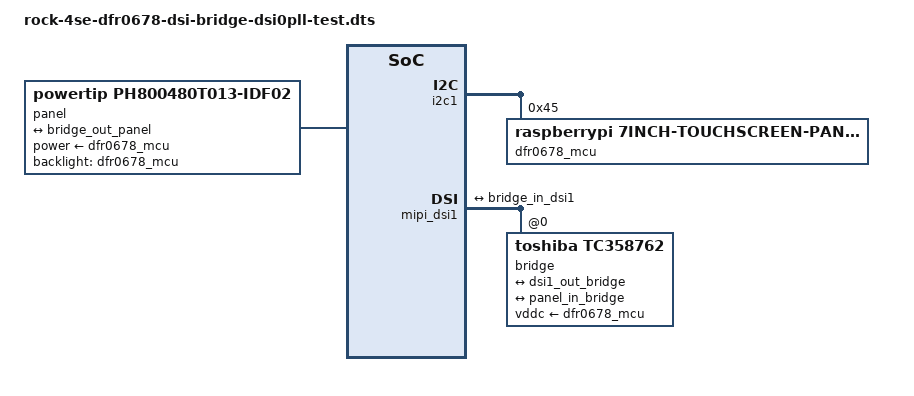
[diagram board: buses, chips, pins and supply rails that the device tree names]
// SPDX-License-Identifier: (GPL-2.0+ OR MIT)
/*
 * DFRobot DFR0678 7" 800x480 DSI display (Raspberry Pi 7" touchscreen
 * compatible) on the Radxa ROCK 4SE / ROCK Pi 4, mainline kernel, using the
 * split drivers that replaced panel-raspberrypi-touchscreen:
 *
 *   ATTINY power/backlight MCU (i2c1 @ 0x45)
 *     -> TC358762 DSI-to-DPI bridge (DSI1, virtual channel 0)
 *       -> panel-simple "powertip,ph800480t013-idf02"
 *
 * Modelled on mainline's imx8mm-venice-gw73xx-0x-rpidsi.dtso.
 *
 * - The board's 15-pin MIPI DSI connector is wired to the second DSI
 *   controller (dsi@ff968000, TX1RX1 D-PHY), not dsi@ff960000.
 * - The connector's I2C pins go to i2c1 (i2c@ff110000), which already
 *   hosts the ES8316 audio codec at 0x11, so the bus must stay at 100 kHz.
 * - The TC358762 is a DSI peripheral: it is configured over DSI, so it sits
 *   under the DSI host, not on i2c1. Only the MCU is on i2c1.
 * - The MCU at 0x45 switches the panel and bridge power and drives the
 *   backlight; there is no GPIO power switch on the board.
 *
 * Kernel: CONFIG_REGULATOR_RASPBERRYPI_TOUCHSCREEN_ATTINY,
 *         CONFIG_DRM_TOSHIBA_TC358762, CONFIG_DRM_PANEL_SIMPLE.
 * Do not load together with rock-4se-dfr0678-dsi.dtbo: both claim 0x45.
 * This test overlay adds a DSI0 phandle consumed only by the experimental
 * kernel patch; the DSI0 display host remains disabled.
 */

/dts-v1/;
/plugin/;

&{/} {
	panel {
		compatible = "powertip,ph800480t013-idf02";
		power-supply = <&dfr0678_mcu>;
		backlight = <&dfr0678_mcu>;

		port {
			panel_in_bridge: endpoint {
				remote-endpoint = <&bridge_out_panel>;
			};
		};
	};
};

&i2c1 {
	#address-cells = <1>;
	#size-cells = <0>;
	status = "okay";

	dfr0678_mcu: regulator@45 {
		compatible = "raspberrypi,7inch-touchscreen-panel-regulator";
		reg = <0x45>;
	};
};

&mipi_dsi1 {
	#address-cells = <1>;
	#size-cells = <0>;
	status = "okay";
	rockchip,dsi-dsi0 = <&mipi_dsi>;

	bridge@0 {
		compatible = "toshiba,tc358762";
		reg = <0>;
		vddc-supply = <&dfr0678_mcu>;

		ports {
			#address-cells = <1>;
			#size-cells = <0>;

			port@0 {
				reg = <0>;

				bridge_in_dsi1: endpoint {
					remote-endpoint = <&dsi1_out_bridge>;
				};
			};

			port@1 {
				reg = <1>;

				bridge_out_panel: endpoint {
					remote-endpoint = <&panel_in_bridge>;
				};
			};
		};
	};

	ports {
		#address-cells = <1>;
		#size-cells = <0>;

		port@1 {
			reg = <1>;

			dsi1_out_bridge: endpoint {
				remote-endpoint = <&bridge_in_dsi1>;
			};
		};
	};
};
